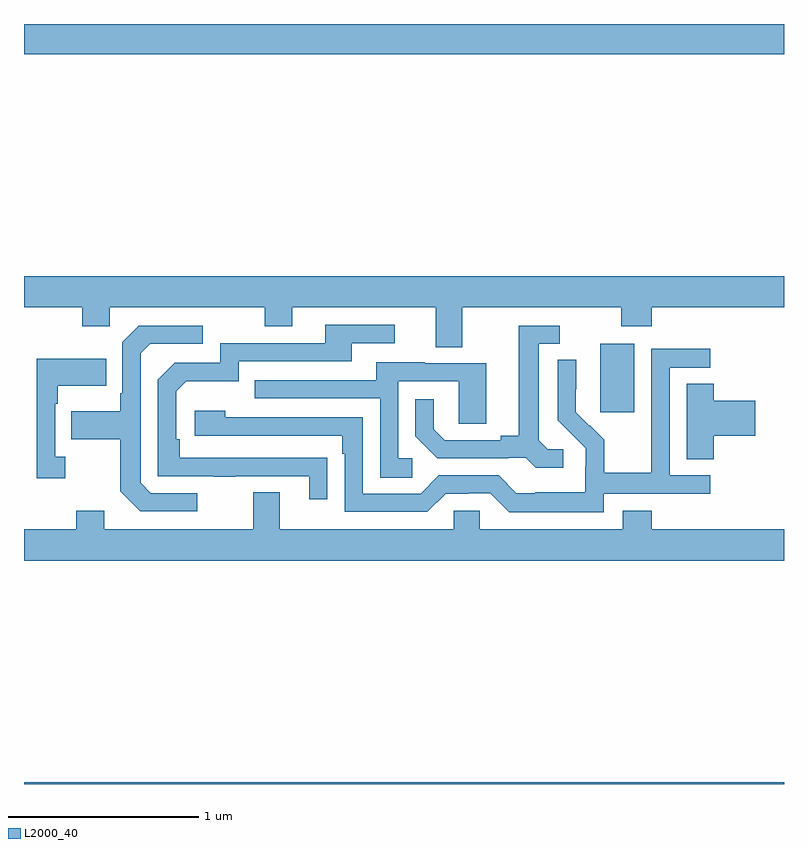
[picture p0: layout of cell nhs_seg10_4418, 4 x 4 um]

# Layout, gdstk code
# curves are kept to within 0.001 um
import gdstk
lib = gdstk.Library(unit=1e-6, precision=1e-09)
def R(c, l, rs):  # rectangles x0, y0, x1, y1
    for r in rs: c.add(gdstk.rectangle(r[:2], r[2:], *l))
def P(c, l, *ps):  # polygons
    for p in ps: c.add(gdstk.Polygon(p, *l))
L2000_40 = (2000, 40)

nhs_seg10_4418 = lib.new_cell('nhs_seg10_4418')
R(nhs_seg10_4418, L2000_40, [(361,1272.5,365,1272.508), (364.034,1274.457,364.213,1274.818), (361,1276.34,365,1276.5)])
P(nhs_seg10_4418, L2000_40, [(363.307,1275.008),(364.144,1275.008),(364.144,1274.909),(364.304,1274.909),(364.304,1275.008),(365,1275.008),(365,1275.172),(361,1275.172),(361,1275.008),(361.306,1275.008),(361.306,1274.909),(361.452,1274.909),(361.452,1275.008),(362.266,1275.008),(362.266,1274.909),(362.413,1274.909),(362.413,1275.008),(363.167,1275.008),(363.167,1274.8),(363.307,1274.8)],
  [(362.597,1274.216),(361.82,1274.217),(361.82,1274.314),(361.8,1274.314),(361.8,1274.568),(361.853,1274.621),(362.13,1274.621),(362.13,1274.724),(362.725,1274.724),(362.725,1274.82),(362.95,1274.82),(362.95,1274.916),(362.585,1274.916),(362.585,1274.82),(362.034,1274.82),(362.034,1274.718),(361.794,1274.718),(361.704,1274.628),(361.704,1274.121),(361.999,1274.121),(361.999,1274.116),(362.111,1274.116),(362.111,1274.121),(362.501,1274.121),(362.501,1273.998),(362.597,1273.998)],
  [(361.912,1274.031),(361.668,1274.031),(361.614,1274.085),(361.614,1274.766),(361.665,1274.817),(361.942,1274.817),(361.942,1274.913),(361.605,1274.913),(361.518,1274.826),(361.518,1274.557),(361.506,1274.557),(361.506,1274.461),(361.249,1274.461),(361.249,1274.314),(361.506,1274.314),(361.506,1274.041),(361.611,1273.935),(361.912,1273.935)],
  [(363.838,1274.262),(363.756,1274.262),(363.709,1274.309),(363.709,1274.817),(363.82,1274.817),(363.82,1274.913),(363.605,1274.913),(363.605,1274.333),(363.509,1274.333),(363.509,1274.31),(363.214,1274.31),(363.157,1274.367),(363.157,1274.524),(363.06,1274.524),(363.06,1274.33),(363.176,1274.214),(363.548,1274.214),(363.548,1274.217),(363.642,1274.217),(363.694,1274.165),(363.838,1274.165)],
  [(364.05,1274.028),(364.612,1274.028),(364.612,1274.124),(364.398,1274.124),(364.398,1274.691),(364.612,1274.691),(364.612,1274.79),(364.302,1274.79),(364.302,1274.36),(364.3,1274.36),(364.3,1274.137),(364.055,1274.137),(364.055,1274.311),(363.978,1274.388),(363.975,1274.385),(363.905,1274.456),(363.906,1274.732),(363.81,1274.732),(363.81,1274.414),(363.956,1274.266),(363.956,1274.169),(363.954,1274.169),(363.954,1274.035),(363.691,1274.035),(363.691,1274.031),(363.591,1274.031),(363.498,1274.124),(363.183,1274.124),(363.087,1274.028),(362.784,1274.028),(362.784,1274.43),(362.06,1274.43),(362.06,1274.464),(361.899,1274.464),(361.899,1274.334),(362.675,1274.334),(362.675,1274.237),(362.688,1274.237),(362.688,1273.932),(363.123,1273.932),(363.219,1274.028),(363.338,1274.028),(363.338,1274.031),(363.453,1274.031),(363.553,1273.931),(364.05,1273.931)],
  [(361.216,1274.222),(361.164,1274.222),(361.164,1274.501),(361.177,1274.501),(361.177,1274.597),(361.433,1274.597),(361.433,1274.737),(361.067,1274.737),(361.067,1274.109),(361.216,1274.109)],
  [(363.043,1274.214),(362.97,1274.214),(362.97,1274.619),(363.288,1274.619),(363.288,1274.395),(363.433,1274.395),(363.433,1274.715),(363.109,1274.715),(363.109,1274.719),(362.855,1274.719),(362.855,1274.625),(362.215,1274.625),(362.215,1274.529),(362.874,1274.529),(362.874,1274.113),(363.043,1274.113)],
  [(364.631,1274.333),(364.849,1274.333),(364.849,1274.516),(364.631,1274.516),(364.631,1274.606),(364.487,1274.606),(364.487,1274.209),(364.631,1274.209)],
  [(365,1273.84),(364.304,1273.84),(364.304,1273.939),(364.151,1273.939),(364.151,1273.84),(363.399,1273.84),(363.399,1273.938),(363.261,1273.938),(363.261,1273.84),(362.347,1273.84),(362.347,1274.035),(362.207,1274.035),(362.207,1273.84),(361.423,1273.84),(361.423,1273.939),(361.276,1273.939),(361.276,1273.84),(361,1273.84),(361,1273.676),(365,1273.676)])

lib.write_gds('nhs_seg10_4418.gds')
